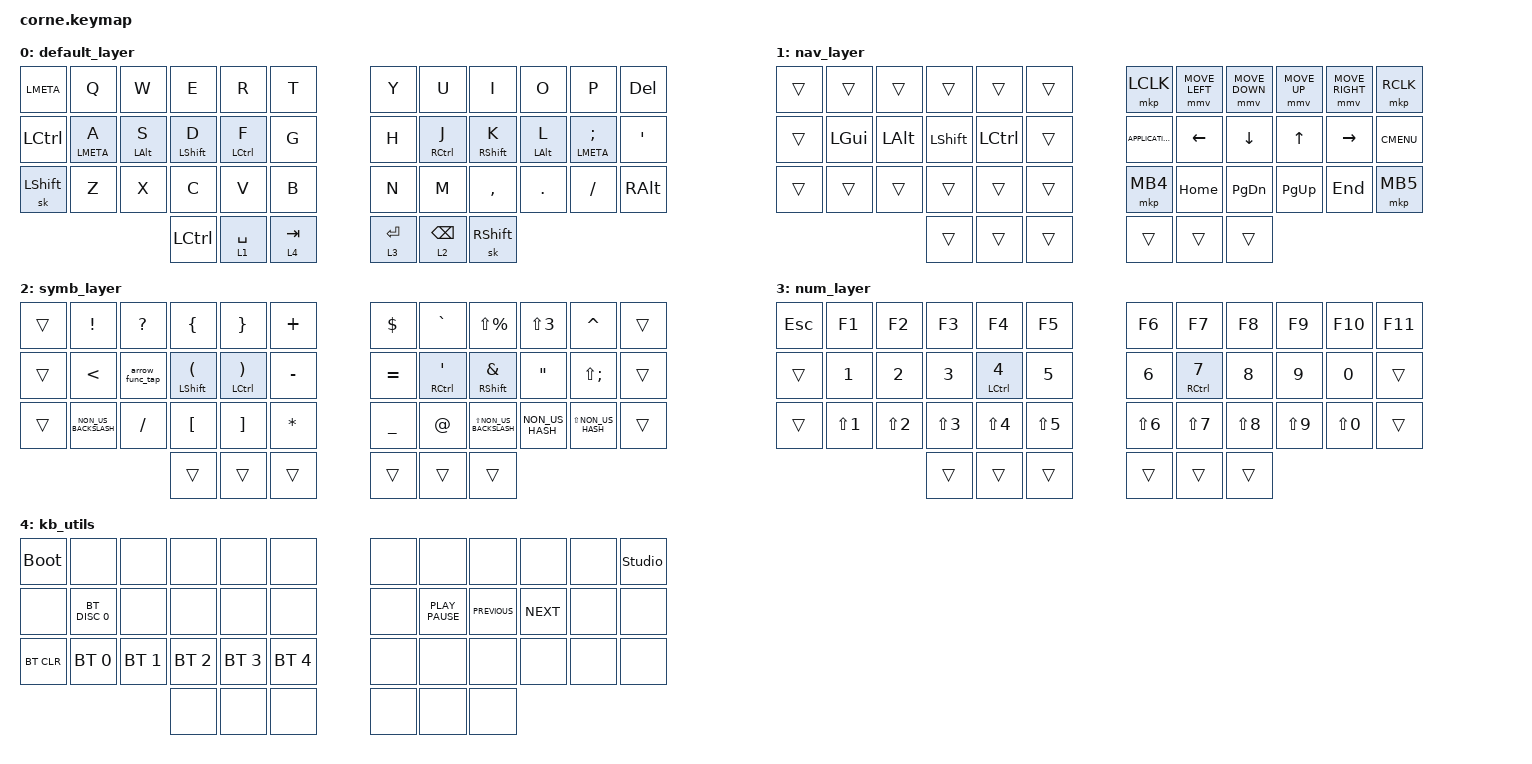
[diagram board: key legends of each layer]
/*
 * Copyright (c) 2020 The ZMK Contributors
 *
 * SPDX-License-Identifier: MIT
 */

#define ZMK_POINTING_DEFAULT_MOVE_VAL 800  // default: 600
#define ZMK_POINTING_DEFAULT_SCRL_VAL 20    // default: 10

#define KEYS_L LT0 LT1 LT2 LT3 LT4 LT5 LM0 LM1 LM2 LM3 LM4 LM5 LB0 LB1 LB2 LB3 LB4 LB5  // Left-hand keys.
#define KEYS_R RT0 RT1 RT2 RT3 RT4 RT5 RM0 RM1 RM2 RM3 RM4 RM5 RB0 RB1 RB2 RB3 RB4 RB5  // Right-hand keys.
#define THUMBS LH2 LH1 LH0 RH0 RH1 RH2         


#include <behaviors.dtsi>
#include <dt-bindings/zmk/bt.h>
#include <dt-bindings/zmk/keys.h>
#include <dt-bindings/zmk/pointing.h>
#include <zmk-helpers/key-labels/42.h>

&sk {
  release-after-ms = <1000>;
  quick-release;
  lazy;
  ignore-modifiers;
};

&mmv {
      acceleration-exponent = <1>;          // 1
      time-to-max-speed-ms = <500>;         // 300
      delay-ms = <0>;                       // 0
};

/ {
    combos {
        compatible = "zmk,combos";

        caps_word {
            bindings = <&caps_word>;
            key-positions = <17 18>;
        };

        esc {
            bindings = <&kp ESCAPE>;
            key-positions = <1 2>;
        };

        vol_up {
            bindings = <&kp C_VOLUME_UP>;
            key-positions = <11 23>;
        };

        vol_down {
            bindings = <&kp C_VOLUME_DOWN>;
            key-positions = <23 35>;
        };

        CAPS_LOCK {
            bindings = <&kp CAPSLOCK>;
            key-positions = <5 6>;
        };

        Delete {
            bindings = <&kp DELETE>;
            key-positions = <10 9>;
        };
    };

    macros {
        arrow_func: arrow_func {
            compatible = "zmk,behavior-macro";
            #binding-cells = <0>;
            bindings = <&kp EQUAL &kp GT>, <&macro_press>;

            label = "ARROW_FUNC";
        };
    };


    behaviors {

        bhm: balanced_homerow_mods {
            compatible = "zmk,behavior-hold-tap";
            #binding-cells = <2>;
            tapping-term-ms = <200>;    // <---[[moderate duration]]
            quick-tap-ms = <0>;
            flavor = "balanced";
            bindings = <&kp>, <&kp>;
        };
        
        arrow_func_tap: arrow_func_tap {
            compatible = "zmk,behavior-tap-dance";
            label = "ARROW_FUNC_TAP";
            #binding-cells = <0>;
            bindings = <&kp GREATER_THAN>, <&arrow_func>;
        };

        A_GUI_mt: A_GUI_mt {
            compatible = "zmk,behavior-tap-dance";
            label = "A_GUI_MT";
            #binding-cells = <0>;
            bindings = <&kp A>, <&mt LGUI A>;
        };

        semi_MOD_mt: semi_MOD_mt {
            compatible = "zmk,behavior-tap-dance";
            label = "SEMI_MOD_MT";
            #binding-cells = <0>;
            bindings = <&kp SEMICOLON>, <&mt RIGHT_GUI SEMICOLON>;
        };

        sticky: sticky {
            compatible = "zmk,behavior-sticky-key";
            label = "STICKY";
            bindings = <&kp>;
            #binding-cells = <1>;
            release-after-ms = <1000>;
            quick-release;
            lazy;
            ignore-modifiers;
        };
    };

    keymap {
        compatible = "zmk,keymap";

        default_layer {
            // -----------------------------------------------------------------------------------------
            // |  TAB |  Q  |  W  |  E  |  R  |  T  |   |  Y  |  U   |  I  |  O  |  P  | BSPC |
            // | CTRL |  A  |  S  |  D  |  F  |  G  |   |  H  |  J   |  K  |  L  |  ;  |  '   |
            // | SHFT |  Z  |  X  |  C  |  V  |  B  |   |  N  |  M   |  ,  |  .  |  /  | ESC  |
            //                    | GUI | LWR | SPC |   | ENT | RSE  | ALT |

            bindings = <
&kp LMETA  &kp Q      &kp W           &kp E             &kp R        &kp T        &kp Y      &kp U            &kp I                &kp O           &kp P         &kp DELETE
&kp LCTRL  &bhm LMETA A  &bhm LEFT_ALT S  &bhm LEFT_SHIFT D  &bhm LCTRL F  &kp G        &kp H      &bhm RCTRL J      &bhm RIGHT_SHIFT K    &bhm LEFT_ALT L  &bhm LMETA SEMICOLON  &kp SQT
&sk LSHFT  &kp Z      &kp X           &kp C             &kp V        &kp B        &kp N      &kp M            &kp COMMA            &kp DOT         &kp FSLH      &kp RIGHT_ALT
                                      &kp LCTRL         &lt 1 SPACE  &lt 4 TAB    &lt 3 RET  &lt 2 BACKSPACE  &sk RIGHT_SHIFT
            >;
        };

        nav_layer {
            bindings = <
&trans  &trans    &trans    &trans          &trans            &trans    &mkp LCLK          &mmv MOVE_LEFT  &mmv MOVE_DOWN  &mmv MOVE_UP  &mmv MOVE_RIGHT  &mkp RCLK
&trans  &kp LGUI  &kp LALT  &kp LEFT_SHIFT  &kp LEFT_CONTROL  &trans    &kp K_APPLICATION  &kp LEFT        &kp DOWN_ARROW  &kp UP_ARROW  &kp RIGHT        &kp K_CMENU
&trans  &trans    &trans    &trans          &trans            &trans    &mkp MB4           &kp HOME        &kp PAGE_DOWN   &kp PG_UP     &kp END          &mkp MB5
                            &trans          &trans            &trans    &trans             &trans          &trans
            >;
        };

        symb_layer {
            bindings = <
&trans  &kp EXCLAMATION       &kp QUESTION     &kp LEFT_BRACE        &kp RIGHT_BRACE        &kp PLUS        &kp DOLLAR      &kp GRAVE         &kp LS(PERCENT)           &kp LS(NUMBER_3)   &kp CARET            &trans
&trans  &kp LESS_THAN         &arrow_func_tap  &mt LEFT_SHIFT LEFT_PARENTHESIS  &mt LCTRL RIGHT_PARENTHESIS  &kp MINUS       &kp EQUAL       &mt RCTRL SINGLE_QUOTE   &mt RIGHT_SHIFT AMPERSAND             &kp DOUBLE_QUOTES  &kp LS(SEMICOLON)    &trans
&trans  &kp NON_US_BACKSLASH  &kp SLASH        &kp LEFT_BRACKET      &kp RIGHT_BRACKET      &kp ASTERISK    &kp UNDERSCORE  &kp AT_SIGN       &kp LS(NON_US_BACKSLASH)  &kp NON_US_HASH    &kp LS(NON_US_HASH)  &trans
                                               &trans                &trans                 &trans          &trans          &trans            &trans
            >;
        };

        num_layer {
            bindings = <
&kp ESC  &kp F1      &kp F2      &kp F3      &kp F4      &kp F5        &kp F6      &kp F7      &kp F8      &kp F9      &kp F10     &kp F11
&trans   &kp N1      &kp N2      &kp N3      &mt LCTRL N4      &kp N5        &kp N6      &mt RCTRL N7      &kp N8      &kp N9      &kp N0      &trans
&trans   &kp LS(N1)  &kp LS(N2)  &kp LS(N3)  &kp LS(N4)  &kp LS(N5)    &kp LS(N6)  &kp LS(N7)  &kp LS(N8)  &kp LS(N9)  &kp LS(N0)  &trans
                                 &trans      &trans      &trans        &trans      &trans      &trans
            >;
        };

        kb_utils {
            bindings = <
&bootloader  &none          &none         &none         &none         &none           &none  &none             &none           &none       &none  &studio_unlock
&none        &bt BT_DISC 0  &none         &none         &none         &none           &none  &kp K_PLAY_PAUSE  &kp K_PREVIOUS  &kp K_NEXT  &none  &none
&bt BT_CLR   &bt BT_SEL 0   &bt BT_SEL 1  &bt BT_SEL 2  &bt BT_SEL 3  &bt BT_SEL 4    &none  &none             &none           &none       &none  &none
                                          &none         &none         &none           &none  &none             &none
            >;
        };
    };

    conditional_layers { compatible = "zmk,conditional-layers"; };
};
